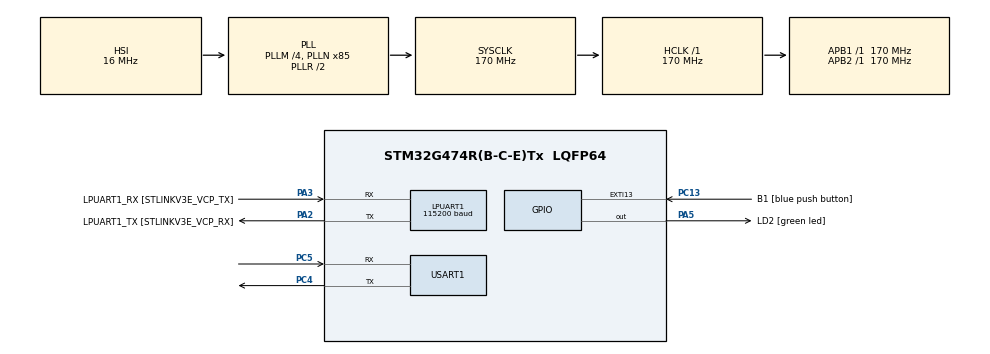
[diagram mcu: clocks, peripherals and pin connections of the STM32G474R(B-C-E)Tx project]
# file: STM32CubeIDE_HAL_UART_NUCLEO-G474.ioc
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Dma.LPUART1_TX.1.Direction=DMA_MEMORY_TO_PERIPH
Dma.LPUART1_TX.1.EventEnable=DISABLE
Dma.LPUART1_TX.1.Instance=DMA1_Channel2
Dma.LPUART1_TX.1.MemDataAlignment=DMA_MDATAALIGN_BYTE
Dma.LPUART1_TX.1.MemInc=DMA_MINC_ENABLE
Dma.LPUART1_TX.1.Mode=DMA_NORMAL
Dma.LPUART1_TX.1.PeriphDataAlignment=DMA_PDATAALIGN_BYTE
Dma.LPUART1_TX.1.PeriphInc=DMA_PINC_DISABLE
Dma.LPUART1_TX.1.Polarity=HAL_DMAMUX_REQ_GEN_RISING
Dma.LPUART1_TX.1.Priority=DMA_PRIORITY_LOW
Dma.LPUART1_TX.1.RequestNumber=1
Dma.LPUART1_TX.1.SignalID=NONE
Dma.LPUART1_TX.1.SyncEnable=DISABLE
Dma.LPUART1_TX.1.SyncPolarity=HAL_DMAMUX_SYNC_NO_EVENT
Dma.LPUART1_TX.1.SyncRequestNumber=1
Dma.LPUART1_TX.1.SyncSignalID=NONE
Dma.Request0=USART1_TX
Dma.Request1=LPUART1_TX
Dma.USART1_TX.0.Direction=DMA_MEMORY_TO_PERIPH
Dma.USART1_TX.0.EventEnable=DISABLE
Dma.USART1_TX.0.Instance=DMA1_Channel1
Dma.USART1_TX.0.MemDataAlignment=DMA_MDATAALIGN_BYTE
Dma.USART1_TX.0.MemInc=DMA_MINC_ENABLE
Dma.USART1_TX.0.Mode=DMA_NORMAL
Dma.USART1_TX.0.PeriphDataAlignment=DMA_PDATAALIGN_BYTE
Dma.USART1_TX.0.PeriphInc=DMA_PINC_DISABLE
Dma.USART1_TX.0.Polarity=HAL_DMAMUX_REQ_GEN_RISING
Dma.USART1_TX.0.Priority=DMA_PRIORITY_LOW
Dma.USART1_TX.0.RequestNumber=1
Dma.USART1_TX.0.SignalID=NONE
Dma.USART1_TX.0.SyncEnable=DISABLE
Dma.USART1_TX.0.SyncPolarity=HAL_DMAMUX_SYNC_NO_EVENT
Dma.USART1_TX.0.SyncRequestNumber=1
Dma.USART1_TX.0.SyncSignalID=NONE
LPUART1.BaudRate=115200
LPUART1.WordLength=UART_WORDLENGTH_8B
Mcu.Family=STM32G4
Mcu.Name=STM32G474R(B-C-E)Tx
Mcu.Package=LQFP64
NVIC.DMA1_Channel1_IRQn=true\:0\:0\:false\:false\:true\:false\:true
NVIC.DMA1_Channel2_IRQn=true\:0\:0\:false\:false\:true\:false\:true
NVIC.EXTI15_10_IRQn=true\:0\:0\:false\:false\:true\:true\:true
NVIC.LPUART1_IRQn=true\:0\:0\:false\:false\:true\:true\:true
NVIC.PriorityGroup=NVIC_PRIORITYGROUP_4
NVIC.USART1_IRQn=true\:0\:0\:false\:false\:true\:true\:true
PA13.GPIO_Label=T_SWDIO
PA13.Mode=Serial_Wire
PA13.Signal=SYS_JTMS-SWDIO
PA14.GPIO_Label=T_SWCLK
PA14.Mode=Serial_Wire
PA14.Signal=SYS_JTCK-SWCLK
PA2.GPIO_Label=LPUART1_TX [STLINKV3E_VCP_RX]
PA2.Mode=Asynchronous
PA2.Signal=LPUART1_TX
PA3.GPIO_Label=LPUART1_RX [STLINKV3E_VCP_TX]
PA3.Mode=Asynchronous
PA3.Signal=LPUART1_RX
PA5.GPIO_Label=LD2 [green led]
PA5.Signal=GPIO_Output
PB3.GPIO_Label=T_SWO
PB3.Signal=SYS_JTDO-SWO
PC13.GPIO_Label=B1 [blue push button]
PC13.Signal=GPXTI13
PC14-OSC32_IN.Mode=LSE-External-Oscillator
PC14-OSC32_IN.Signal=RCC_OSC32_IN
PC15-OSC32_OUT.Mode=LSE-External-Oscillator
PC15-OSC32_OUT.Signal=RCC_OSC32_OUT
PC4.Mode=Asynchronous
PC4.Signal=USART1_TX
PC5.Mode=Asynchronous
PC5.Signal=USART1_RX
PF0-OSC_IN.Mode=HSE-External-Oscillator
PF0-OSC_IN.Signal=RCC_OSC_IN
PF1-OSC_OUT.Mode=HSE-External-Oscillator
PF1-OSC_OUT.Signal=RCC_OSC_OUT
ProjectManager.HeapSize=0x200
ProjectManager.StackSize=0x400
ProjectManager.TargetToolchain=STM32CubeIDE
RCC.ADC12Freq_Value=170000000
RCC.ADC345Freq_Value=170000000
RCC.AHBFreq_Value=170000000
RCC.APB1Freq_Value=170000000
RCC.APB1TimFreq_Value=170000000
RCC.APB2Freq_Value=170000000
RCC.APB2TimFreq_Value=170000000
RCC.CortexFreq_Value=170000000
RCC.EXTERNAL_CLOCK_VALUE=12288000
RCC.HCLKFreq_Value=170000000
RCC.HSE_VALUE=24000000
RCC.HSI48_VALUE=48000000
RCC.HSI_VALUE=16000000
RCC.PLLM=RCC_PLLM_DIV4
RCC.PLLN=85
RCC.RTCClockSelection=RCC_RTCCLKSOURCE_LSE
RCC.SYSCLKFreq_VALUE=170000000
RCC.SYSCLKSource=RCC_SYSCLKSOURCE_PLLCLK
RCC.USBFreq_Value=170000000
RCC.VCOOutputFreq_Value=340000000
USART1.VirtualMode-Asynchronous=VM_ASYNC
VP_SYS_VS_DBSignals.Mode=DisableDeadBatterySignals
board=NUCLEO-G474RE

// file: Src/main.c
/* USER CODE BEGIN Header */
/**
  ******************************************************************************
  * @file           : main.c
  * @brief          : Main program body
  ******************************************************************************
  * @attention
  *
  * <h2><center>&copy; Copyright (c) 2020 STMicroelectronics.
  * All rights reserved.</center></h2>
  *
  * This software component is licensed by ST under BSD 3-Clause license,
  * the "License"; You may not use this file except in compliance with the
  * License. You may obtain a copy of the License at:
  *                        opensource.org/licenses/BSD-3-Clause
  *
  ******************************************************************************
  */
/* USER CODE END Header */

#include "main.h"

/* USER CODE BEGIN Includes */
#include "trice.h"
/* USER CODE END Includes */

UART_HandleTypeDef hlpuart1;
UART_HandleTypeDef huart1;
DMA_HandleTypeDef hdma_lpuart1_tx;
DMA_HandleTypeDef hdma_usart1_tx;

void SystemClock_Config(void);
static void MX_GPIO_Init(void);
static void MX_DMA_Init(void);
static void MX_LPUART1_UART_Init(void);
static void MX_USART1_UART_Init(void);

int main(void)
{
  /* USER CODE BEGIN 1 */
#ifdef ENCRYPT
    InitXteaTable();
#endif
  /* USER CODE END 1 */

  /* MCU Configuration--------------------------------------------------------*/

  /* Reset of all peripherals, Initializes the Flash interface and the Systick. */
  HAL_Init();

  /* Configure the system clock */
  SystemClock_Config();

  /* Initialize all configured peripherals */
  MX_GPIO_Init();
  MX_DMA_Init();
  MX_LPUART1_UART_Init();
  MX_USART1_UART_Init();

  /* Infinite loop */
  /* USER CODE BEGIN WHILE */
  while( HAL_GetTick() < 1000 );
  TRICE16_1( Id( 1943), "tim:timing      message, SysTick is %6d\n", SYSTICKVAL16 );
  TRICE0( Id( 9857), "att:STM32CubeIDE_HAL_UART_NUCLEO-G474\n" );
  TRICE16_1( Id(56081), "tim:timing      message, SysTick is %6d\n", SYSTICKVAL16 );
  TRICE16_1( Id(   58), "tim:timing      message, SysTick is %6d\n", SYSTICKVAL16 );
  TRICE16_1( Id(21412), "tim:timing      message, SysTick is %6d\n", SYSTICKVAL16 );
  TRICE16_1( Id(10643), "tim:timing      message, SysTick is %6d\n", SYSTICKVAL16 );
  while (1)
  {
      //////////////////////////////////////////////////
      // demo trices
      //
      static uint32_t ms_1 = 0;
      uint32_t ms = HAL_GetTick();
      if( ms >= ms_1 + 1000 ){ // every sec
          static int index = 0;
          triceCheckSet(index++%20);
          TRICE32_1( Id(49544), "time:ms = %d\n", ms );
          HAL_GPIO_TogglePin(LD2_GPIO_Port, LD2_Pin);
          ms_1 = ms;
      }
      //
      //////////////////////////////////////////////////

      //////////////////////////////////////////////////
      // needed background activity
      //
      triceServe();
      //
      //////////////////////////////////////////////////
    /* USER CODE END WHILE */

  }
}

void SystemClock_Config(void)
{
  RCC_OscInitTypeDef RCC_OscInitStruct = {0};
  RCC_ClkInitTypeDef RCC_ClkInitStruct = {0};
  RCC_PeriphCLKInitTypeDef PeriphClkInit = {0};

  /** Configure the main internal regulator output voltage
  */
  HAL_PWREx_ControlVoltageScaling(PWR_REGULATOR_VOLTAGE_SCALE1_BOOST);
  /** Initializes the CPU, AHB and APB busses clocks
  */
  RCC_OscInitStruct.OscillatorType = RCC_OSCILLATORTYPE_HSI;
  RCC_OscInitStruct.HSIState = RCC_HSI_ON;
  RCC_OscInitStruct.HSICalibrationValue = RCC_HSICALIBRATION_DEFAULT;
  RCC_OscInitStruct.PLL.PLLState = RCC_PLL_ON;
  RCC_OscInitStruct.PLL.PLLSource = RCC_PLLSOURCE_HSI;
  RCC_OscInitStruct.PLL.PLLM = RCC_PLLM_DIV4;
  RCC_OscInitStruct.PLL.PLLN = 85;
  RCC_OscInitStruct.PLL.PLLP = RCC_PLLP_DIV2;
  RCC_OscInitStruct.PLL.PLLQ = RCC_PLLQ_DIV2;
  RCC_OscInitStruct.PLL.PLLR = RCC_PLLR_DIV2;
  if (HAL_RCC_OscConfig(&RCC_OscInitStruct) != HAL_OK)
  {
    Error_Handler();
  }
  /** Initializes the CPU, AHB and APB busses clocks
  */
  RCC_ClkInitStruct.ClockType = RCC_CLOCKTYPE_HCLK|RCC_CLOCKTYPE_SYSCLK
                              |RCC_CLOCKTYPE_PCLK1|RCC_CLOCKTYPE_PCLK2;
  RCC_ClkInitStruct.SYSCLKSource = RCC_SYSCLKSOURCE_PLLCLK;
  RCC_ClkInitStruct.AHBCLKDivider = RCC_SYSCLK_DIV1;
  RCC_ClkInitStruct.APB1CLKDivider = RCC_HCLK_DIV1;
  RCC_ClkInitStruct.APB2CLKDivider = RCC_HCLK_DIV1;

  if (HAL_RCC_ClockConfig(&RCC_ClkInitStruct, FLASH_LATENCY_8) != HAL_OK)
  {
    Error_Handler();
  }
  /** Initializes the peripherals clocks
  */
  PeriphClkInit.PeriphClockSelection = RCC_PERIPHCLK_USART1|RCC_PERIPHCLK_LPUART1;
  PeriphClkInit.Usart1ClockSelection = RCC_USART1CLKSOURCE_PCLK2;
  PeriphClkInit.Lpuart1ClockSelection = RCC_LPUART1CLKSOURCE_PCLK1;
  if (HAL_RCCEx_PeriphCLKConfig(&PeriphClkInit) != HAL_OK)
  {
    Error_Handler();
  }
}

static void MX_LPUART1_UART_Init(void)
{

  hlpuart1.Instance = LPUART1;
  hlpuart1.Init.BaudRate = 115200;
  hlpuart1.Init.WordLength = UART_WORDLENGTH_8B;
  hlpuart1.Init.StopBits = UART_STOPBITS_1;
  hlpuart1.Init.Parity = UART_PARITY_NONE;
  hlpuart1.Init.Mode = UART_MODE_TX_RX;
  hlpuart1.Init.HwFlowCtl = UART_HWCONTROL_NONE;
  hlpuart1.Init.OneBitSampling = UART_ONE_BIT_SAMPLE_DISABLE;
  hlpuart1.AdvancedInit.AdvFeatureInit = UART_ADVFEATURE_NO_INIT;
  if (HAL_UART_Init(&hlpuart1) != HAL_OK)
  {
    Error_Handler();
  }
  if (HAL_UARTEx_SetTxFifoThreshold(&hlpuart1, UART_TXFIFO_THRESHOLD_1_8) != HAL_OK)
  {
    Error_Handler();
  }
  if (HAL_UARTEx_SetRxFifoThreshold(&hlpuart1, UART_RXFIFO_THRESHOLD_1_8) != HAL_OK)
  {
    Error_Handler();
  }
  if (HAL_UARTEx_DisableFifoMode(&hlpuart1) != HAL_OK)
  {
    Error_Handler();
  }

}

static void MX_USART1_UART_Init(void)
{

  huart1.Instance = USART1;
  huart1.Init.BaudRate = 115200;
  huart1.Init.WordLength = UART_WORDLENGTH_8B;
  huart1.Init.StopBits = UART_STOPBITS_1;
  huart1.Init.Parity = UART_PARITY_NONE;
  huart1.Init.Mode = UART_MODE_TX_RX;
  huart1.Init.HwFlowCtl = UART_HWCONTROL_NONE;
  huart1.Init.OverSampling = UART_OVERSAMPLING_16;
  huart1.Init.OneBitSampling = UART_ONE_BIT_SAMPLE_DISABLE;
  huart1.Init.ClockPrescaler = UART_PRESCALER_DIV1;
  huart1.AdvancedInit.AdvFeatureInit = UART_ADVFEATURE_NO_INIT;
  if (HAL_UART_Init(&huart1) != HAL_OK)
  {
    Error_Handler();
  }
  if (HAL_UARTEx_SetTxFifoThreshold(&huart1, UART_TXFIFO_THRESHOLD_1_8) != HAL_OK)
  {
    Error_Handler();
  }
  if (HAL_UARTEx_SetRxFifoThreshold(&huart1, UART_RXFIFO_THRESHOLD_1_8) != HAL_OK)
  {
    Error_Handler();
  }
  if (HAL_UARTEx_DisableFifoMode(&huart1) != HAL_OK)
  {
    Error_Handler();
  }

}

static void MX_DMA_Init(void)
{

  /* DMA controller clock enable */
  __HAL_RCC_DMAMUX1_CLK_ENABLE();
  __HAL_RCC_DMA1_CLK_ENABLE();

  /* DMA interrupt init */
  /* DMA1_Channel1_IRQn interrupt configuration */
  HAL_NVIC_SetPriority(DMA1_Channel1_IRQn, 0, 0);
  HAL_NVIC_EnableIRQ(DMA1_Channel1_IRQn);
  /* DMA1_Channel2_IRQn interrupt configuration */
  HAL_NVIC_SetPriority(DMA1_Channel2_IRQn, 0, 0);
  HAL_NVIC_EnableIRQ(DMA1_Channel2_IRQn);

}

static void MX_GPIO_Init(void)
{
  GPIO_InitTypeDef GPIO_InitStruct = {0};

  /* GPIO Ports Clock Enable */
  __HAL_RCC_GPIOC_CLK_ENABLE();
  __HAL_RCC_GPIOF_CLK_ENABLE();
  __HAL_RCC_GPIOA_CLK_ENABLE();
  __HAL_RCC_GPIOB_CLK_ENABLE();

  /*Configure GPIO pin Output Level */
  HAL_GPIO_WritePin(LD2_GPIO_Port, LD2_Pin, GPIO_PIN_RESET);

  /*Configure GPIO pin : B1_Pin */
  GPIO_InitStruct.Pin = B1_Pin;
  GPIO_InitStruct.Mode = GPIO_MODE_IT_RISING;
  GPIO_InitStruct.Pull = GPIO_NOPULL;
  HAL_GPIO_Init(B1_GPIO_Port, &GPIO_InitStruct);

  /*Configure GPIO pin : LD2_Pin */
  GPIO_InitStruct.Pin = LD2_Pin;
  GPIO_InitStruct.Mode = GPIO_MODE_OUTPUT_PP;
  GPIO_InitStruct.Pull = GPIO_NOPULL;
  GPIO_InitStruct.Speed = GPIO_SPEED_FREQ_LOW;
  HAL_GPIO_Init(LD2_GPIO_Port, &GPIO_InitStruct);

  /* EXTI interrupt init*/
  HAL_NVIC_SetPriority(EXTI15_10_IRQn, 0, 0);
  HAL_NVIC_EnableIRQ(EXTI15_10_IRQn);

}

void Error_Handler(void)
{
}

/************************ (C) COPYRIGHT STMicroelectronics *****END OF FILE****/
